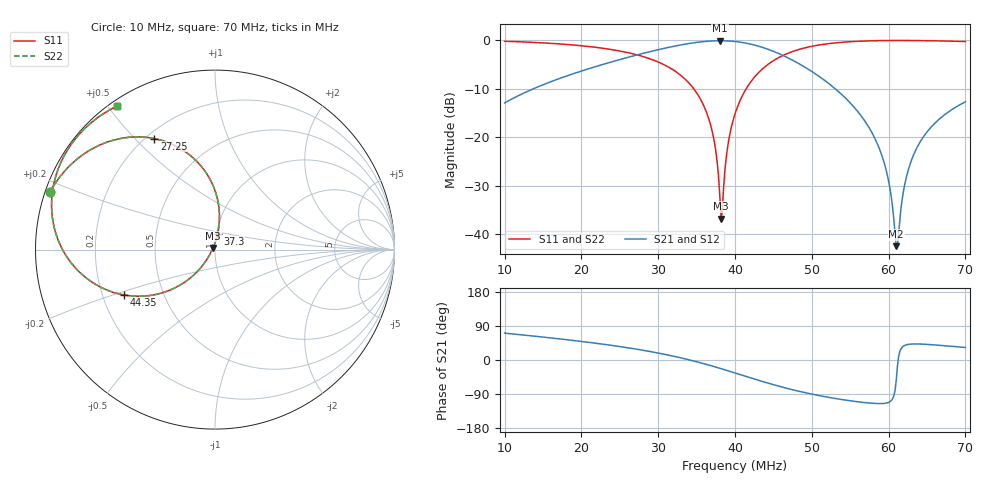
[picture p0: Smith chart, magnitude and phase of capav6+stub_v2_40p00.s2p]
! Touchstone file exported from HFSS 2025.2.0
!  File:  C:/Users/32474/OneDrive - UCL/Documents/Ingenieur/MASTER1/Stage/HFSS/capav6+stub.aedt
!  Generated:  07:00:17 PM Jul 17, 2026
!  Design:  HFSSDesign1
!  Project:  capav6+stub
!  Setup:  Setup4
!  Solution:  Sweep
# GHz S MA R 50.000000
! Terminal data exported
! Port[1] = capa_40p00_v2_1_1
! Port[2] = capa_40p00_v2_1_2
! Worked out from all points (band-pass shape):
!   401 points, 10 MHz to 70 MHz, reference 50 ohm
!   highest |S21| = -0.12 dB at 38.05 MHz (marker M1); lowest = -42.5 dB at 61 MHz (marker M2)
!   |S21| within 3 dB of the highest: 27.06 MHz to 46.2 MHz (19.14 MHz wide, 52.2 % of centre)
!   lowest |S11| = -36.8 dB at 38.2 MHz (marker M3), VSWR 1.03, Z = 48.9 + j0.895 ohm
!   |S11| at or under -10 dB: 34.62 MHz to 41.46 MHz (6.843 MHz wide, 18 % of centre)
!   |S22| runs from -36.9 to -0.1 dB; largest |S21 - S12| = 2.8e-15
!   S11 on the Smith chart (normalised r, x): 10 MHz: 0.01, +0.17; 27.25 MHz: 0.23, +0.57; 37.3 MHz: 1.01, +0.18; 44.35 MHz: 0.29, -0.22; 70 MHz: 0.02, +0.53
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0.01  0.9741 160.9  0.2253 70.9  0.2253 70.9  0.9741 160.9
! Gamma 4.27491059556143E-05 0.209627356043276 4.35194336586822E-05 0.209628168502717
! Port Impedance 50 0 50 0
0.02005  0.8751 139.0  0.4819 48.9  0.4819 48.9  0.8751 139.0
0.02725  0.7053 118.7  0.7045 28.3  0.7045 28.3  0.7053 118.7
0.0301  0.5909 108.6  0.8008 18.0  0.8008 18.0  0.5909 108.5
0.0349  0.2948 88.0  0.9455 -4.0  0.9455 -4.0  0.2948 87.9
0.0364  0.1708 81.7  0.9736 -12.3  0.9736 -12.3  0.1708 81.6
0.0373  0.09011 80.7  0.9832 -17.5  0.9832 -17.5  0.09008 80.6
0.03805  0.02302 104.7  0.9861 -22.0  0.9861 -22.0  0.0229 104.2
0.0382  0.01451 140.9  0.9861 -22.9  0.9861 -22.9  0.01431 140.6
0.0385  0.02881 -144.5  0.9854 -24.8  0.9854 -24.8  0.0287 -144.2
0.0391  0.08516 -128.7  0.9815 -28.5  0.9815 -28.5  0.08513 -128.6
0.04  0.1737 -129.5  0.9688 -34.2  0.9688 -34.2  0.1736 -129.5
0.0418  0.3482 -138.7  0.9193 -45.7  0.9193 -45.7  0.3482 -138.7
0.04435  0.5669 -153.5  0.8027 -61.4  0.8027 -61.4  0.5669 -153.5
0.05005  0.8656 177.9  0.4727 -90.2  0.4727 -90.2  0.8656 177.9
0.05695  0.9802 153.9  0.1449 -112.5  0.1449 -112.5  0.9802 153.8
0.0589  0.9892 148.5  0.07261 -115.1  0.07261 -115.1  0.9892 148.5
0.0601  0.9918 145.4  0.03208 -110.8  0.03208 -110.8  0.9918 145.4
0.061  0.9927 143.2  0.007536 -52.5  0.007536 -52.5  0.9927 143.2
0.06235  0.9924 140.0  0.03983 40.3  0.03983 40.3  0.9924 140.0
0.0637  0.9905 137.0  0.07822 42.4  0.07822 42.4  0.9905 137.0
0.07  0.9679 124.3  0.2316 33.1  0.2316 33.1  0.9679 124.3
